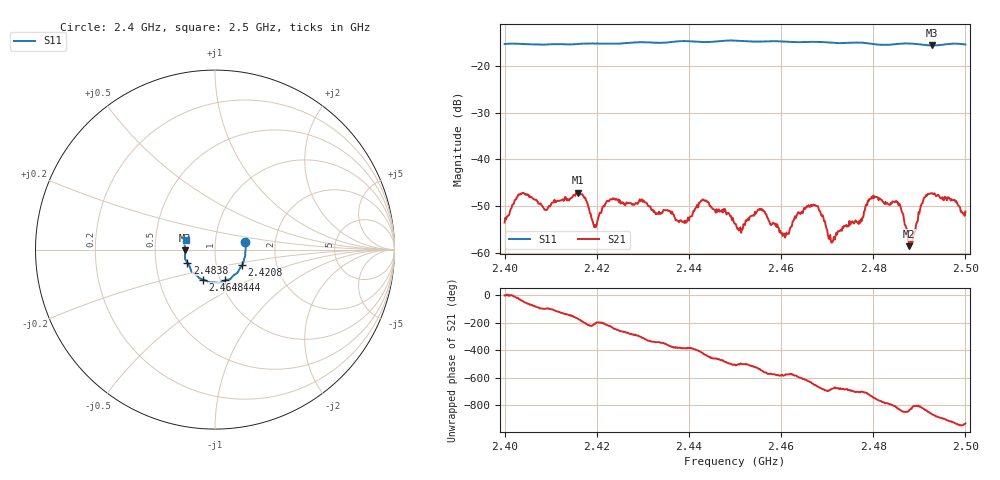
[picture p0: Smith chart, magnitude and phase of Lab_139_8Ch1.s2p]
# Hz S RI R 50
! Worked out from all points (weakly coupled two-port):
!   601 points, 2.4 GHz to 2.5 GHz, reference 50 ohm
!   highest |S21| = -47.12 dB at 2.416 GHz (marker M1); lowest = -58.6 dB at 2.4878 GHz (marker M2)
!   lowest |S11| = -15.6 dB at 2.4928 GHz (marker M3), VSWR 1.40, Z = 35.8 - j0.345 ohm
!   |S11| at or under -10 dB: start of sweep to end of sweep
!   S12 and S22 are empty: the file has one direction only
!   S11 on the Smith chart (normalised r, x): 2.4 GHz: 1.40, +0.12; 2.4208 GHz: 1.33, -0.24; 2.444 GHz: 1.06, -0.37; 2.4648 GHz: 0.83, -0.29; 2.4838 GHz: 0.73, -0.11; 2.5 GHz: 0.72, +0.08
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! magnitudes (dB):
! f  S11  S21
! 2.4 GHz  -15.3  -53.5
! 2.4035 GHz  -15.3  -47.3
! 2.4088 GHz  -15.4  -50.7
! 2.416 GHz  -15.3  -47.1
! 2.4167 GHz  -15.2  -47.4
! 2.4195 GHz  -15.2  -54.5
! 2.4208 GHz  -15.2  -51.4
! 2.4333 GHz  -15.0  -51.7
! 2.444 GHz  -14.9  -49.1
! 2.45 GHz  -14.5  -53.8
! 2.4555 GHz  -14.8  -50.8
! 2.4608 GHz  -14.8  -56.7
! 2.4648 GHz  -14.9  -50.9
! 2.4667 GHz  -14.8  -50.0
! 2.4708 GHz  -15.0  -57.6
! 2.4795 GHz  -15.2  -48.4
! 2.4833 GHz  -15.4  -49.6
! 2.4838 GHz  -15.4  -49.3
! 2.4858 GHz  -15.2  -49.8
! 2.4878 GHz  -15.2  -58.6
! 2.4928 GHz  -15.6  -47.2
! 2.5 GHz  -15.4  -51.1
